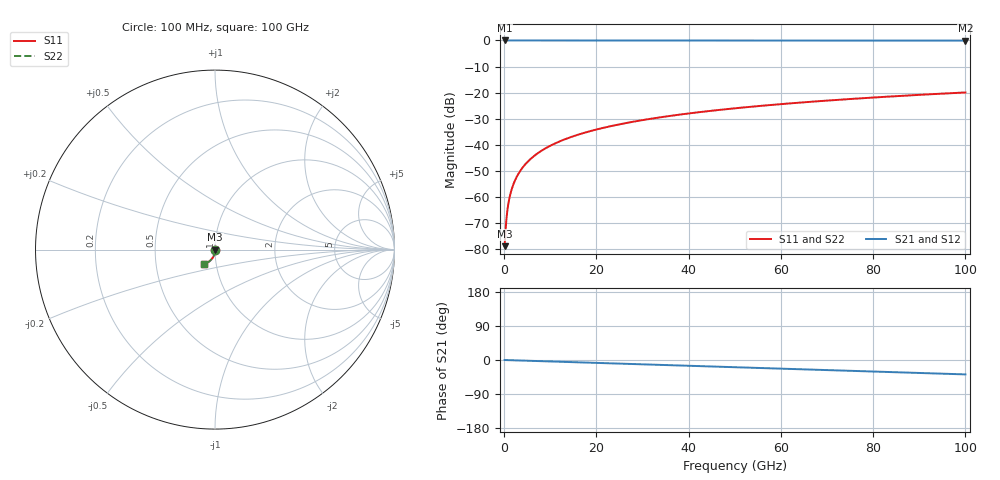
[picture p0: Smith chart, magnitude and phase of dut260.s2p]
! Touchstone file exported from HFSS 2026.1.0
!  File:  C:/ffzhzh/LocalFiles/Ansys_Project_Files/temp_train_TSV_260_1783508486_55944.aedt
!  Generated:  07:02:36 PM Jul  8, 2026
!  Design:  TSV
!  Project:  temp_train_TSV_260_1783508486_55944
! Variables:
!  h_bsmrdl = 2um
!  h_ox = 20um
!  h_rdl = 5um
!  h_sub = 76.53um
!  h_tmrdl = 5um
!  h_tsv = 76.53um
!  h_via = 3um
!  l_bsmrdl = 300um
!  l_sub = 423.4um
!  l_tmrdl = 200um
!  m_sub = 200um
!  pitch = 40.72um
!  r_tsv = 11.7um
!  s_tmrdl = 10um
!  w_bsmrdl = 18um
!  w_sub = 500um
!  w_tmrdl = 12um
!  x_tsv_center1 = 206um
!  x_tsv_center2 = 524um
!  x_tsv_center3 = 736um
!  x_tsv_center4 = 1054um
!  x_tsv_center5 = 1266um
!  x_tsv_center6 = 1584um
# GHz S MA R 50.000000
! Terminal data exported
! Port[1] = TSV1_1_T1
! Port[2] = TSV1_1_T2
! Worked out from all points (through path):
!   1000 points, 100 MHz to 100 GHz, reference 50 ohm
!   highest |S21| = 0.00 dB at 100 MHz (marker M1); lowest = -0.1 dB at 100 GHz (marker M2)
!   group delay of S21, straight-line fit = 1.05 ps
!   lowest |S11| = -78.8 dB at 100 MHz (marker M3), VSWR 1.00, Z = 50 - j0.0056 ohm
!   |S11| at or under -10 dB: start of sweep to end of sweep
!   |S22| runs from -78.8 to -19.9 dB; largest |S21 - S12| = 5.3e-15
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0.1  0.0001148 -29.2  0.9999 -0.0  0.9999 -0.0  0.0001148 -29.2
! Gamma 0 0 0 0
! Port Impedance 50 0 50 0
0.4  0.0003024 -59.0  0.9998 -0.2  0.9998 -0.2  0.0003024 -59.0
0.7  0.000556 -67.4  0.9998 -0.3  0.9998 -0.3  0.000556 -67.4
0.9  0.0007355 -70.8  0.9998 -0.4  0.9998 -0.4  0.0007355 -70.8
1.1  0.0009177 -73.2  0.9997 -0.4  0.9997 -0.4  0.0009177 -73.2
1.4  0.001194 -75.8  0.9997 -0.5  0.9997 -0.5  0.001194 -75.8
1.8  0.001565 -78.1  0.9997 -0.7  0.9997 -0.7  0.001565 -78.1
2.4  0.00213 -80.3  0.9996 -0.9  0.9996 -0.9  0.00213 -80.3
3.1  0.002801 -81.9  0.9995 -1.2  0.9995 -1.2  0.002801 -81.9
3.9  0.003577 -83.3  0.9995 -1.5  0.9995 -1.5  0.003577 -83.3
4.9  0.004557 -84.7  0.9994 -1.9  0.9994 -1.9  0.004557 -84.7
6  0.005641 -85.9  0.9994 -2.3  0.9994 -2.3  0.005641 -85.9
8.8  0.008419 -88.2  0.9992 -3.4  0.9992 -3.4  0.008419 -88.2
12.4  0.01203 -90.3  0.999 -4.7  0.999 -4.7  0.01203 -90.3
16.8  0.01646 -92.7  0.9988 -6.4  0.9988 -6.4  0.01646 -92.7
24.1  0.02383 -96.1  0.9984 -9.2  0.9984 -9.2  0.02383 -96.1
33.4  0.03327 -100.1  0.9979 -12.7  0.9979 -12.7  0.03327 -100.1
41.2  0.0412 -103.3  0.9974 -15.7  0.9974 -15.7  0.0412 -103.3
50.1  0.05026 -107.0  0.9968 -19.0  0.9968 -19.0  0.05026 -107.0
66.7  0.06714 -113.6  0.9955 -25.3  0.9955 -25.3  0.06714 -113.6
83.4  0.08411 -120.2  0.9939 -31.7  0.9939 -31.7  0.08412 -120.2
100  0.101 -126.7  0.9919 -38.0  0.9919 -38.0  0.101 -126.7
